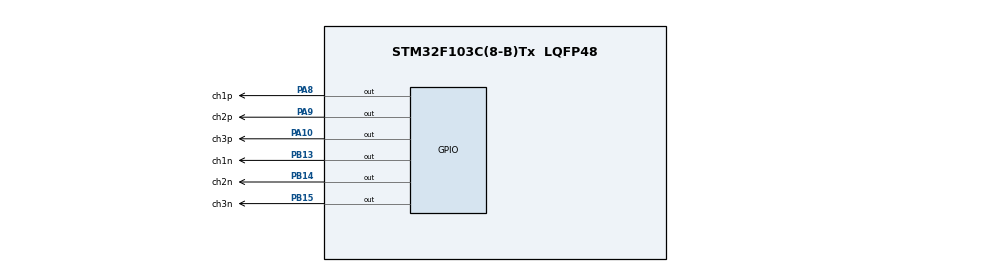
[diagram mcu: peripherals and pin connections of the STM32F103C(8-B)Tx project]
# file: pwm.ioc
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Mcu.Family=STM32F1
Mcu.Name=STM32F103C(8-B)Tx
Mcu.Package=LQFP48
NVIC.PriorityGroup=NVIC_PRIORITYGROUP_4
PA10.GPIO_Label=ch3p
PA10.Signal=GPIO_Output
PA13.Mode=Serial_Wire
PA13.Signal=SYS_JTMS-SWDIO
PA14.Mode=Serial_Wire
PA14.Signal=SYS_JTCK-SWCLK
PA8.GPIO_Label=ch1p
PA8.Signal=GPIO_Output
PA9.GPIO_Label=ch2p
PA9.Signal=GPIO_Output
PB13.GPIO_Label=ch1n
PB13.Signal=GPIO_Output
PB14.GPIO_Label=ch2n
PB14.Signal=GPIO_Output
PB15.GPIO_Label=ch3n
PB15.Signal=GPIO_Output
PD0-OSC_IN.Mode=HSE-External-Oscillator
PD0-OSC_IN.Signal=RCC_OSC_IN
PD1-OSC_OUT.Mode=HSE-External-Oscillator
PD1-OSC_OUT.Signal=RCC_OSC_OUT
ProjectManager.HeapSize=0x200
ProjectManager.StackSize=0x400
ProjectManager.TargetToolchain=Makefile
RCC.AHBFreq_Value=72000000
RCC.APB1CLKDivider=RCC_HCLK_DIV2
RCC.APB1Freq_Value=36000000
RCC.APB1TimFreq_Value=72000000
RCC.APB2Freq_Value=72000000
RCC.APB2TimFreq_Value=72000000
RCC.HCLKFreq_Value=72000000
RCC.PLLMUL=RCC_PLL_MUL9
RCC.PLLSourceVirtual=RCC_PLLSOURCE_HSE
RCC.SYSCLKFreq_VALUE=72000000
RCC.SYSCLKSource=RCC_SYSCLKSOURCE_PLLCLK
RCC.USBFreq_Value=72000000
board=pwm

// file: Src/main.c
/* USER CODE BEGIN Header */
/**
  ******************************************************************************
  * @file           : main.c
  * @brief          : Main program body
  ******************************************************************************
  * @attention
  *
  * <h2><center>&copy; Copyright (c) 2020 STMicroelectronics.
  * All rights reserved.</center></h2>
  *
  * This software component is licensed by ST under BSD 3-Clause license,
  * the "License"; You may not use this file except in compliance with the
  * License. You may obtain a copy of the License at:
  *                        opensource.org/licenses/BSD-3-Clause
  *
  ******************************************************************************
  */
/* USER CODE END Header */

#include "main.h"
#include "gpio.h"

/* USER CODE BEGIN Includes */
#include "math.h"

#define		pin_low(port,pin)  LL_GPIO_ResetOutputPin(port, pin)
#define		pin_high(port,pin)  LL_GPIO_SetOutputPin(port, pin)

#define nop __asm__ volatile("nop")
#define sinus_points 64
#define minimal_amplitude 3

/* USER CODE END Includes */

/* USER CODE BEGIN PV */
/* Private variables ---------------------------------------------------------*/

float PI = 3.14;
uint16_t sin_table_a[sinus_points];
uint16_t sin_table_b[sinus_points];
uint16_t sin_table_c[sinus_points];

uint16_t step = 1;
float tmp = 0;
int delay = 1;

float delay_time = 2550.0; // set delay for begin minimal speed
/* USER CODE END PV */

void SystemClock_Config(void);
/* USER CODE BEGIN PFP */
/* Private function prototypes -----------------------------------------------*/
void sin_init(uint16_t i);

void sin_init(uint16_t i)
{
  sin_table_c[(i+(sinus_points/3*1)) & (sinus_points-1)]=
  sin_table_b[(i+(sinus_points/3*2)) & (sinus_points-1)]=
  sin_table_a[(i+(sinus_points/3*3)) & (sinus_points-1)]=
  minimal_amplitude+(uint16_t)((sin((float) i*(2*PI/sinus_points))+1)*(sinus_points/2-1));
}

void delay_cycle(volatile uint32_t cycle_count)
{
  while(cycle_count--)
  {
    nop;
  }
}

void pwm(uint16_t a, uint16_t b, uint16_t c, uint8_t timing)
{
   uint16_t i;
   for(i= 0; i < sinus_points; i+=step)
   {

     if(i<(a & (sinus_points-1)))
     {
       pin_low(ch1p_GPIO_Port, ch1p_Pin);
       delay_cycle(timing);
       pin_high(ch1n_GPIO_Port, ch1n_Pin);
     }
     else
     {
       pin_low(ch1n_GPIO_Port, ch1n_Pin);
       delay_cycle(timing);
       pin_high(ch1p_GPIO_Port, ch1p_Pin);
     }

     if(i<(b & (sinus_points-1)))
     {
       pin_low(ch2p_GPIO_Port, ch2p_Pin);
       delay_cycle(timing);
       pin_high(ch2n_GPIO_Port, ch2n_Pin);
     }
     else
     {
       pin_low(ch2n_GPIO_Port, ch2n_Pin);
       delay_cycle(timing);
       pin_high(ch2p_GPIO_Port, ch2p_Pin);
     }

     if(i<(c & (sinus_points-1)))
     {
       pin_low(ch3p_GPIO_Port, ch3p_Pin);
       delay_cycle(timing);
       pin_high(ch3n_GPIO_Port, ch3n_Pin);
     }
     else
     {
       pin_low(ch3n_GPIO_Port, ch3n_Pin);
       delay_cycle(timing);
       pin_high(ch3p_GPIO_Port, ch3p_Pin);
     }

     if(delay)
     delay_cycle(delay);
   }
}

void sine_gen(void)
{
  static float timing = 350;
  static uint16_t a,b,c;
  timing -=0.5;

  if((uint16_t)timing<=275) timing = 275;

  for (uint16_t i=0; i<sinus_points; i+=step)
  {
    a=(sin_table_a[i & (sinus_points-1)]);
    b=(sin_table_b[i & (sinus_points-1)]);
    c=(sin_table_c[i & (sinus_points-1)]);
    pwm(a, b, c, (uint16_t)timing);
  }
  sine_gen();
}

/* USER CODE END PFP */

int main(void)
{

  /* MCU Configuration--------------------------------------------------------*/

  /* Reset of all peripherals, Initializes the Flash interface and the Systick. */

  LL_APB2_GRP1_EnableClock(LL_APB2_GRP1_PERIPH_AFIO);
  LL_APB1_GRP1_EnableClock(LL_APB1_GRP1_PERIPH_PWR);

  NVIC_SetPriorityGrouping(NVIC_PRIORITYGROUP_4);

  /* System interrupt init*/

  /** NOJTAG: JTAG-DP Disabled and SW-DP Enabled
  */
  LL_GPIO_AF_Remap_SWJ_NOJTAG();

  /* Configure the system clock */
  SystemClock_Config();

  /* Initialize all configured peripherals */
  MX_GPIO_Init();

  /* Infinite loop */
  /* USER CODE BEGIN WHILE */
  for (uint32_t i=0; i<sinus_points; i++)
  {
    sin_init(i);
  }

  sine_gen();

  while (1)
  {

    /* USER CODE END WHILE */

  }
}

void SystemClock_Config(void)
{
  LL_FLASH_SetLatency(LL_FLASH_LATENCY_2);

   if(LL_FLASH_GetLatency() != LL_FLASH_LATENCY_2)
  {
    Error_Handler();
  }
  LL_RCC_HSE_Enable();

   /* Wait till HSE is ready */
  while(LL_RCC_HSE_IsReady() != 1)
  {

  }
  LL_RCC_PLL_ConfigDomain_SYS(LL_RCC_PLLSOURCE_HSE_DIV_1, LL_RCC_PLL_MUL_16);
  LL_RCC_PLL_Enable();

   /* Wait till PLL is ready */
  while(LL_RCC_PLL_IsReady() != 1)
  {

  }
  LL_RCC_SetAHBPrescaler(LL_RCC_SYSCLK_DIV_1);
  LL_RCC_SetAPB1Prescaler(LL_RCC_APB1_DIV_2);
  LL_RCC_SetAPB2Prescaler(LL_RCC_APB2_DIV_1);
  LL_RCC_SetSysClkSource(LL_RCC_SYS_CLKSOURCE_PLL);

   /* Wait till System clock is ready */
  while(LL_RCC_GetSysClkSource() != LL_RCC_SYS_CLKSOURCE_STATUS_PLL)
  {

  }
  LL_Init1msTick(128000000);
  LL_SYSTICK_SetClkSource(LL_SYSTICK_CLKSOURCE_HCLK);
  LL_SetSystemCoreClock(128000000);
}

void Error_Handler(void)
{
  while(1)
  {
  }
}

/************************ (C) COPYRIGHT STMicroelectronics *****END OF FILE****/
